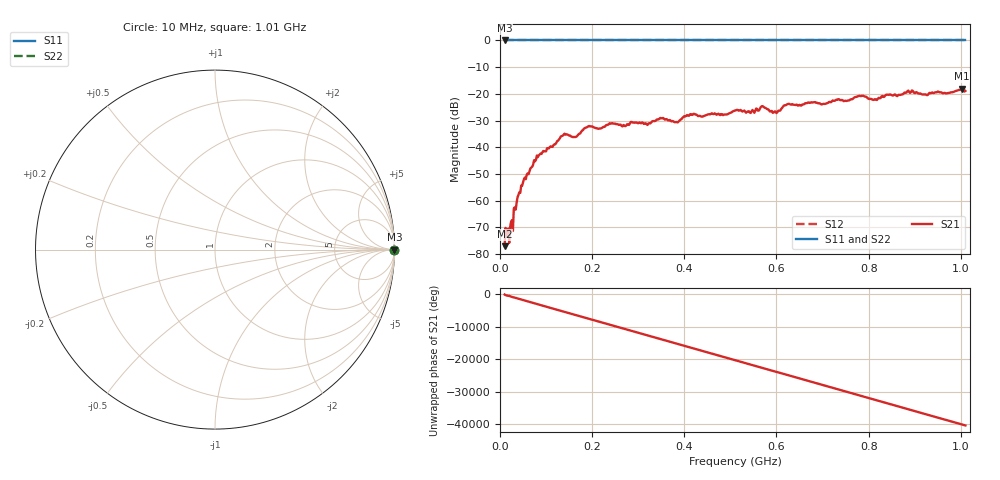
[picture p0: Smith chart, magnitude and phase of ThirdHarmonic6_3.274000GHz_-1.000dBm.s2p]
! 8/17/2025 10:08:20 AM
! C:\ANRITSUVNA\TEMP\TEMP.S2P
! CHANNEL.1
! TR.MEASUREMENT
! RAW.DATA
! RF.CORRECTION.OFF
! AVERAGING.OFF
! IF.BANDWIDTH: 5KHZ
! SWEEPTYPE:  FREQ.SWEEP(Linear)
! Reference Plane Port Info
! PORT:  PORT1  PORT2
! DISTANCE:  0  m  0  m
! TIME:  0  s  0  s
! PHASE.OFFSET:  0  deg.  0  deg.
! LOSS:  0  dB  0  dB
! REF.LOSS:  0  dB  0  dB
! REF.FREQ:  0  Hz  0  Hz
! Power Info
! POWER:  -20  dBm  -20  dBm
! EFF.POWER:  -20  dBm  -20  dBm
! SOURCE.ATTEN:  0  dB  0  dB
! TEST.ATTEN:  0  dB  0  dB
# GHZ S RI R 50.0
! FREQ.GHZ  S11RE  S11IM  S21RE  S21IM  S12RE  S12IM  S22RE  S22IM
!; PortSelection: Port_12
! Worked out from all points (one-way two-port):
!   501 points, 10 MHz to 1.01 GHz, reference 50 ohm
!   highest |S21| = -18.03 dB at 1.002 GHz (marker M1); lowest = -77.1 dB at 10 MHz (marker M2)
!   lowest |S11| = 0.0 dB at 10 MHz (marker M3)
!   |S11| at or under -10 dB: nowhere
!   |S22| runs from 0.0 to 0.0 dB; largest |S21 - S12| = 1.1
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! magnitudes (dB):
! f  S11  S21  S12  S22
! 10 MHz  0.0  -77.1  0.0  0.0
! 24 MHz  0.0  -68.0  0.0  0.0
! 34 MHz  0.0  -63.4  0.0  0.0
! 50 MHz  0.0  -53.2  0.0  0.0
! 78 MHz  0.0  -44.8  0.0  0.0
! 136 MHz  0.0  -35.7  0.0  0.0
! 162 MHz  0.0  -36.2  0.0  0.0
! 178 MHz  0.0  -33.8  0.0  0.0
! 344 MHz  0.0  -29.6  0.0  0.0
! 382 MHz  0.0  -30.5  0.0  0.0
! 416 MHz  0.0  -27.9  0.0  0.0
! 510 MHz  0.0  -26.2  0.0  0.0
! 548 MHz  0.0  -26.1  0.0  0.0
! 570 MHz  0.0  -24.6  0.0  0.0
! 596 MHz  0.0  -26.6  0.0  0.0
! 624 MHz  0.0  -23.9  0.0  0.0
! 678 MHz  0.0  -23.3  0.0  0.0
! 784 MHz  0.0  -20.8  0.0  0.0
! 814 MHz  0.0  -22.0  0.0  0.0
! 844 MHz  0.0  -20.4  0.0  0.0
! 1.002 GHz  0.0  -18.0  0.0  0.0
! 1.01 GHz  0.0  -18.9  0.0  0.0
